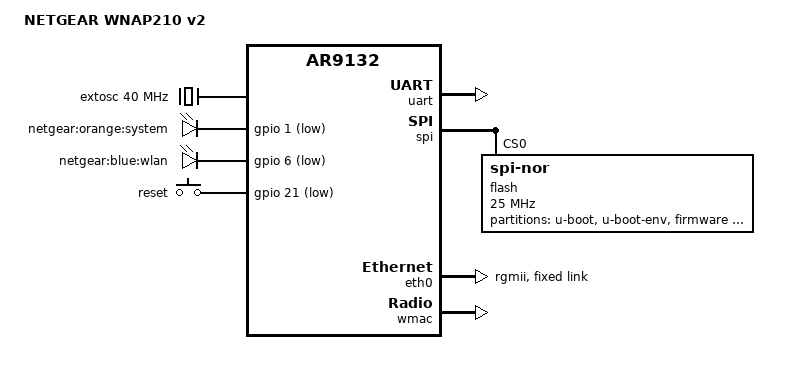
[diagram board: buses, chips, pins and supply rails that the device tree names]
// SPDX-License-Identifier: GPL-2.0
/dts-v1/;

#include <dt-bindings/gpio/gpio.h>
#include <dt-bindings/input/input.h>

#include "ar9132.dtsi"

/ {
	compatible = "netgear,wnap210-v2", "qca,ar9132";
	model = "NETGEAR WNAP210 v2";

	aliases {
	};

	extosc: ref {
		compatible = "fixed-clock";
		#clock-cells = <0>;
		clock-frequency = <40000000>;
	};

  leds {
    compatible = "gpio-leds";

    system: system {
      label = "netgear:orange:system";
      gpios = <&gpio 1 GPIO_ACTIVE_LOW>;
      linux,default-trigger = "heartbeat";
    };

    wlan {
      label = "netgear:blue:wlan";
      gpios = <&gpio 6 GPIO_ACTIVE_LOW>;
      linux,default-trigger = "phy0tpt";
    };
  };

	keys {
		compatible = "gpio-keys";

    button0 {
      label = "reset";
      linux,code = <KEY_RESTART>;
      gpios = <&gpio 21 GPIO_ACTIVE_LOW>;
      debounce-interval = <60>;
    };
	};

	leds {
	};

};

&uart {
	status = "okay";
};

&pll {
	clocks = <&extosc>;
};

&spi {
	status = "okay";
	num-cs = <1>;

	flash@0 {
		compatible = "jedec,spi-nor";
		reg = <0>;
		spi-max-frequency = <25000000>;
    m25p;

		partitions {
			compatible = "fixed-partitions";
			#address-cells = <1>;
			#size-cells = <1>;

			uboot: partition@0 {
				label = "u-boot";
				reg = <0x000000 0x040000>;
				read-only;
			};

			ubootenv: partition@40000 {
				label = "u-boot-env";
				reg = <0x040000 0x010000>;
				read-only;
			};

			partition@50000 {
				label = "firmware";
				reg = <0x050000 0x710000>;
        compatible = "denx,uimage";
			};

      var: partition@760000 {
        label = "var";
        reg = <0x760000 0x80000>;
        ro;
      };

      partition@7e0000 {
        label = "manufacturing-data";
        reg = <0x7e0000 0x10000>;
        ro;
      };

			art: partition@7F0000 {
				label = "art";
				reg = <0x7F0000 0x010000>;
				read-only;
			};
		};
	};
};

&eth0 {
	status = "okay";

	phy-mode = "rgmii";
	mtd-mac-address = <&art 0x1000>;

	fixed-link {
		speed = <1000>;
		full-duplex;
	};
};

&wmac {
	status = "okay";
	mtd-cal-data = <&art 0x1000>;
	mtd-mac-address = <&art 0x1000>;
};
